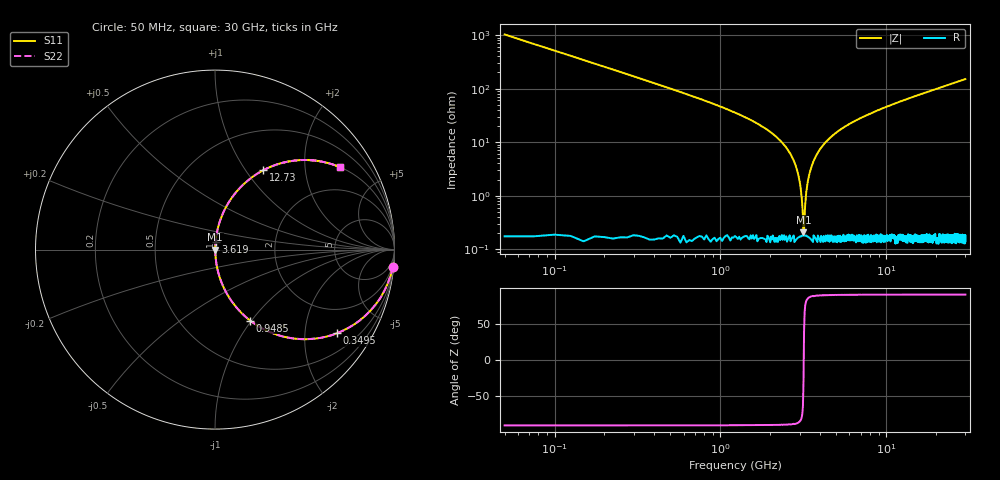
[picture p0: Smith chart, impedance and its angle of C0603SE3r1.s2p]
!	AVX Thin Film Operation 	Date: April 2014
!	Description: Accu-P® Series, Thin Film  SMD RF Capacitor
!	Part Number: 06031J3R1ABSTR
# MHZ S MA R 50
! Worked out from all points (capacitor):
!   1201 points, 50 MHz to 30 GHz, reference 50 ohm
!   read as one part in series: C = 3.1 pF near 199.8 MHz
!   lowest |Z| = 209 mohm at 3.17 GHz (marker M1)
!   series resonance near 3.18 GHz, so ESL is about 810 pH
!   S11 on the Smith chart (normalised r, x): 50 MHz: 1, -21; 349.5 MHz: 1.00, -2.90; 948.5 MHz: 1.00, -0.99; 3.619 GHz: 1.00, +0.08; 12.73 GHz: 1.00, +1.21; 30 GHz: 1.00, +3.01
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50  0.995 -5.6  0.097 84.4  0.097 84.4  0.995 -5.6
349.5  0.823 -34.5  0.567 55.4  0.567 55.4  0.823 -34.5
649  0.604 -52.8  0.796 37.1  0.796 37.1  0.604 -52.8
948.5  0.442 -63.6  0.896 26.2  0.896 26.2  0.442 -63.6
1547.5  0.245 -75.5  0.968 14.2  0.968 14.2  0.245 -75.5
2545.833  0.072 -84.6  0.996 4.1  0.996 4.1  0.072 -84.6
2870.292  0.033 -85.3  0.998 1.9  0.998 1.9  0.033 -85.3
2970.125  0.022 -84.6  0.998 1.3  0.998 1.3  0.022 -84.6
3069.958  0.011 -81.4  0.998 0.7  0.998 0.7  0.011 -81.4
3169.792  0.001915 -33.4  0.998 0.1  0.998 0.1  0.001915 -33.4
3269.625  0.009083 79.4  0.998 -0.5  0.998 -0.5  0.009083 79.4
3419.375  0.023 84.8  0.998 -1.3  0.998 -1.3  0.023 84.8
3619.042  0.042 85.4  0.998 -2.4  0.998 -2.4  0.042 85.4
4168.125  0.088 83.9  0.995 -5.0  0.995 -5.0  0.088 83.9
5041.667  0.152 80.7  0.987 -8.7  0.987 -8.7  0.152 80.7
7013.375  0.272 73.9  0.961 -15.8  0.961 -15.8  0.272 73.9
10058.29  0.417 65.2  0.907 -24.6  0.907 -24.6  0.417 65.2
12728.83  0.518 58.7  0.854 -31.2  0.854 -31.2  0.518 58.7
15025  0.588 53.8  0.807 -36.0  0.807 -36.0  0.588 53.8
20016.67  0.703 45.2  0.71 -44.7  0.71 -44.7  0.703 45.2
25033.29  0.78 38.6  0.624 -51.3  0.624 -51.3  0.78 38.6
30000  0.833 33.6  0.553 -56.4  0.553 -56.4  0.833 33.6
